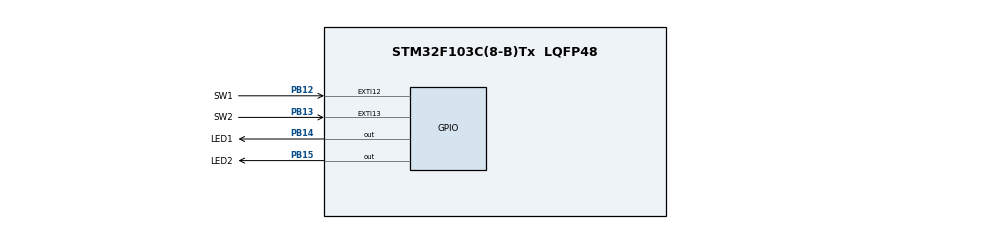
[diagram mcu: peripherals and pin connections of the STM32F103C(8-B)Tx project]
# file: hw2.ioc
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Mcu.Family=STM32F1
Mcu.Name=STM32F103C(8-B)Tx
Mcu.Package=LQFP48
NVIC.EXTI15_10_IRQn=true\:0\:0\:true\:false\:true\:true\:true\:true
NVIC.PriorityGroup=NVIC_PRIORITYGROUP_4
PA13.Mode=Serial_Wire
PA13.Signal=SYS_JTMS-SWDIO
PA14.Mode=Serial_Wire
PA14.Signal=SYS_JTCK-SWCLK
PB12.GPIO_Label=SW1
PB12.GPIO_ModeDefaultEXTI=GPIO_MODE_IT_FALLING
PB12.GPIO_PuPd=GPIO_PULLUP
PB12.Signal=GPXTI12
PB13.GPIO_Label=SW2
PB13.GPIO_ModeDefaultEXTI=GPIO_MODE_IT_FALLING
PB13.GPIO_PuPd=GPIO_PULLUP
PB13.Signal=GPXTI13
PB14.GPIO_Label=LED1
PB14.GPIO_ModeDefaultOutputPP=GPIO_MODE_OUTPUT_PP
PB14.GPIO_PuPd=GPIO_NOPULL
PB14.PinState=GPIO_PIN_SET
PB14.Signal=GPIO_Output
PB15.GPIO_Label=LED2
PB15.PinState=GPIO_PIN_SET
PB15.Signal=GPIO_Output
PD0-OSC_IN.Mode=HSE-External-Oscillator
PD0-OSC_IN.Signal=RCC_OSC_IN
PD1-OSC_OUT.Mode=HSE-External-Oscillator
PD1-OSC_OUT.Signal=RCC_OSC_OUT
ProjectManager.HeapSize=0x200
ProjectManager.StackSize=0x400
ProjectManager.TargetToolchain=STM32CubeIDE
RCC.APB1Freq_Value=8000000
RCC.APB2Freq_Value=8000000
RCC.PLLSourceVirtual=RCC_PLLSOURCE_HSE
RCC.SYSCLKSource=RCC_SYSCLKSOURCE_HSE
RCC.USBFreq_Value=16000000
board=custom

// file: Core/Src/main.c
/* USER CODE BEGIN Header */
/**
  ******************************************************************************
  * @file           : main.c
  * @brief          : Main program body
  ******************************************************************************
  * @attention
  *
  * Copyright (c) 2026 STMicroelectronics.
  * All rights reserved.
  *
  * This software is licensed under terms that can be found in the LICENSE file
  * in the root directory of this software component.
  * If no LICENSE file comes with this software, it is provided AS-IS.
  *
  ******************************************************************************
  */
/* USER CODE END Header */
#include "main.h"

/* USER CODE BEGIN PV */
volatile uint8_t sw1_event = 0;
volatile uint8_t sw2_event = 0;
uint32_t sw1_last_tick = 0;
uint32_t sw2_last_tick = 0;
/* USER CODE END PV */

void SystemClock_Config(void);
static void MX_GPIO_Init(void);

int main(void)
{

  /* MCU Configuration--------------------------------------------------------*/

  /* Reset of all peripherals, Initializes the Flash interface and the Systick. */
  HAL_Init();

  /* Configure the system clock */
  SystemClock_Config();

  /* Initialize all configured peripherals */
  MX_GPIO_Init();

  /* Infinite loop */
  /* USER CODE BEGIN WHILE */
  while (1)
  {
	  if (sw1_event)
	  {
		sw1_event =0;
		if (HAL_GetTick()-sw1_last_tick>100)
		  {
			sw1_last_tick = HAL_GetTick();
			HAL_GPIO_TogglePin(GPIOB, LED1_Pin);
		  }

	  }
	  if (sw2_event)
	  {
		sw2_event =0;
		  if (HAL_GetTick()-sw2_last_tick>100)
		    {
			  sw2_last_tick = HAL_GetTick();
			  HAL_GPIO_TogglePin(GPIOB, LED2_Pin);
		    }
	  }

    /* USER CODE END WHILE */

  }
}

void SystemClock_Config(void)
{
  RCC_OscInitTypeDef RCC_OscInitStruct = {0};
  RCC_ClkInitTypeDef RCC_ClkInitStruct = {0};

  /** Initializes the RCC Oscillators according to the specified parameters
  * in the RCC_OscInitTypeDef structure.
  */
  RCC_OscInitStruct.OscillatorType = RCC_OSCILLATORTYPE_HSE;
  RCC_OscInitStruct.HSEState = RCC_HSE_ON;
  RCC_OscInitStruct.PLL.PLLState = RCC_PLL_NONE;
  if (HAL_RCC_OscConfig(&RCC_OscInitStruct) != HAL_OK)
  {
    Error_Handler();
  }

  /** Initializes the CPU, AHB and APB buses clocks
  */
  RCC_ClkInitStruct.ClockType = RCC_CLOCKTYPE_HCLK|RCC_CLOCKTYPE_SYSCLK
                              |RCC_CLOCKTYPE_PCLK1|RCC_CLOCKTYPE_PCLK2;
  RCC_ClkInitStruct.SYSCLKSource = RCC_SYSCLKSOURCE_HSE;
  RCC_ClkInitStruct.AHBCLKDivider = RCC_SYSCLK_DIV1;
  RCC_ClkInitStruct.APB1CLKDivider = RCC_HCLK_DIV1;
  RCC_ClkInitStruct.APB2CLKDivider = RCC_HCLK_DIV1;

  if (HAL_RCC_ClockConfig(&RCC_ClkInitStruct, FLASH_LATENCY_0) != HAL_OK)
  {
    Error_Handler();
  }
}

static void MX_GPIO_Init(void)
{
  GPIO_InitTypeDef GPIO_InitStruct = {0};

  /* GPIO Ports Clock Enable */
  __HAL_RCC_GPIOD_CLK_ENABLE();
  __HAL_RCC_GPIOB_CLK_ENABLE();
  __HAL_RCC_GPIOA_CLK_ENABLE();

  /*Configure GPIO pin Output Level */
  HAL_GPIO_WritePin(GPIOB, LED1_Pin|LED2_Pin, GPIO_PIN_SET);

  /*Configure GPIO pins : SW1_Pin SW2_Pin */
  GPIO_InitStruct.Pin = SW1_Pin|SW2_Pin;
  GPIO_InitStruct.Mode = GPIO_MODE_IT_FALLING;
  GPIO_InitStruct.Pull = GPIO_PULLUP;
  HAL_GPIO_Init(GPIOB, &GPIO_InitStruct);

  /*Configure GPIO pins : LED1_Pin LED2_Pin */
  GPIO_InitStruct.Pin = LED1_Pin|LED2_Pin;
  GPIO_InitStruct.Mode = GPIO_MODE_OUTPUT_PP;
  GPIO_InitStruct.Pull = GPIO_NOPULL;
  GPIO_InitStruct.Speed = GPIO_SPEED_FREQ_LOW;
  HAL_GPIO_Init(GPIOB, &GPIO_InitStruct);

  /* EXTI interrupt init*/
  HAL_NVIC_SetPriority(EXTI15_10_IRQn, 0, 0);
  HAL_NVIC_EnableIRQ(EXTI15_10_IRQn);

}

/* USER CODE BEGIN 4 */
void HAL_GPIO_EXTI_Callback(uint16_t GPIO_Pin)
{
        if (GPIO_Pin == SW1_Pin)
        {
                sw1_event = 1;
        }
        else if (GPIO_Pin == SW2_Pin)
        {
                sw2_event = 1;
        }
}

/* USER CODE END 4 */

void Error_Handler(void)
{
  __disable_irq();
  while (1)
  {
  }
}
